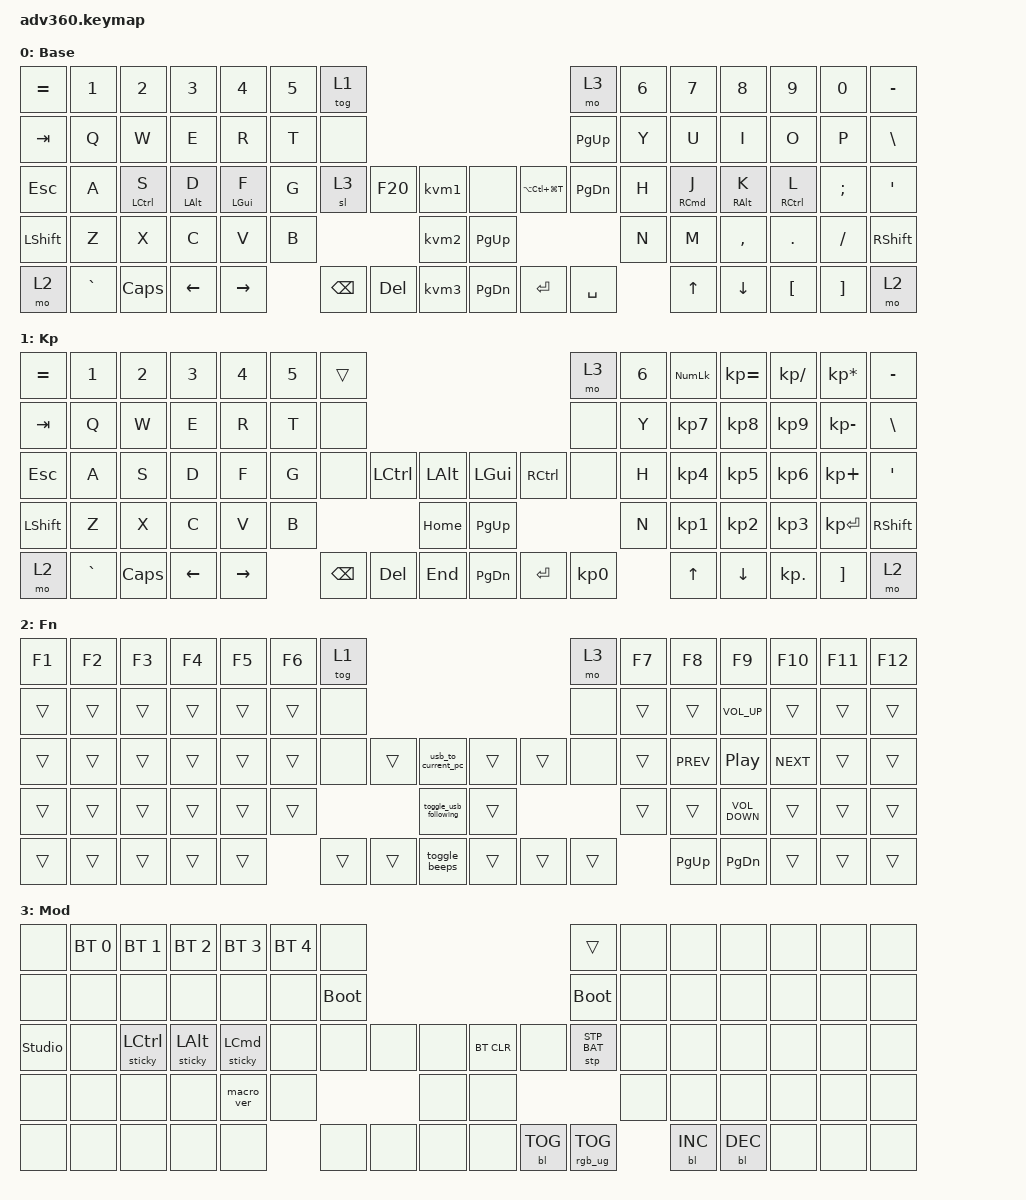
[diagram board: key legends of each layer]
#include <dt-bindings/zmk/stp.h>
#include <behaviors.dtsi>
#include <dt-bindings/zmk/backlight.h>
#include <dt-bindings/zmk/bt.h>
#include <dt-bindings/zmk/keys.h>
#include <dt-bindings/zmk/rgb.h>

/ {
    behaviors {
        #include "macros.dtsi"
      #include "version.dtsi"

        hm: homerow_mods {
            compatible = "zmk,behavior-hold-tap";
            label = "HOMEROW_MODS";
            #binding-cells = <2>;
            tapping-term-ms = <200>;
            quick_tap_ms = <175>;
            flavor = "tap-preferred";
            bindings = <&kp>, <&kp>;
        };

        hm_left: hm_left {
            compatible = "zmk,behavior-hold-tap";
            label = "HM_LEFT";
            bindings = <&kp>, <&kp>;

            #binding-cells = <2>;
            tapping-term-ms = <280>;
            quick-tap-ms = <175>;
            require-prior-idle-ms = <150>;
            flavor = "balanced";
            hold-trigger-on-release;
            hold-trigger-key-positions = <22 40 54 23 24 25 26 41 42 43 44 55 56 57 58 8 9 10 11 12 13 21 22 23 24 25 26 27 39 40 41 42 43 44 45 54 55 56 57 58 73 74 7 8 9 10 11 12 13 21 22 23 24 25 26 27 38 39 40 41 42 43 44 45 54 55 56 57 58 69 70 71 72 73 74 75 37 38 53 68 69 70 14>;
        };

        hm_right: hm_right {
            compatible = "zmk,behavior-hold-tap";
            label = "HM_RIGHT";
            bindings = <&kp>, <&kp>;

            #binding-cells = <2>;
            flavor = "balanced";
            tapping-term-ms = <280>;
            quick-tap-ms = <175>;
            require-prior-idle-ms = <150>;
            hold-trigger-on-release;
            hold-trigger-key-positions = <52 66 67 35 36 52 64 65 66 67 0 1 2 3 4 5 6 14 15 16 17 18 19 20 28 29 30 31 32 33 34 35 47 48 49 50 51 60 61 62 63 64>;
        };

        sticky: sticky {
            compatible = "zmk,behavior-sticky-key";
            label = "STICKY";
            bindings = <&kp>;
            #binding-cells = <1>;
            release-after-ms = <1000>;
        };
    };

    macros {
        kvm1: kvm1 {
            compatible = "zmk,behavior-macro";
            #binding-cells = <0>;
            bindings = <&kp LEFT_CONTROL &kp LEFT_CONTROL &kp NUMBER_1>;
            label = "KVM1";
        };

        kvm2: kvm2 {
            compatible = "zmk,behavior-macro";
            #binding-cells = <0>;
            bindings = <&kp LEFT_CONTROL &kp LEFT_CONTROL &kp NUMBER_2>;
            label = "KVM2";
        };

        kvm3: kvm3 {
            compatible = "zmk,behavior-macro";
            #binding-cells = <0>;
            bindings = <&kp LEFT_CONTROL &kp LEFT_CONTROL &kp NUMBER_3>;
            label = "KVM3";
        };

        usb_to_current_pc: usb_to_current_pc {
            compatible = "zmk,behavior-macro";
            #binding-cells = <0>;
            bindings = <&kp LCTRL &kp LCTRL &kp U>;
            label = "USB_TO_CURRENT_PC";
        };

        toggle_usb_following: toggle_usb_following {
            compatible = "zmk,behavior-macro";
            #binding-cells = <0>;
            bindings = <&kp LCTRL &kp LCTRL &kp F7>;
            label = "TOGGLE_USB_FOLLOWING";
        };

        toggle_beeps: toggle_beeps {
            compatible = "zmk,behavior-macro";
            #binding-cells = <0>;
            bindings = <&kp LCTRL &kp LCTRL &kp LA(G)>;
            label = "TOGGLE_BEEPS";
        };
    };

    keymap {
        compatible = "zmk,keymap";

        default_layer {
            display-name = "Base";
            bindings = <
&kp EQUAL  &kp N1     &kp N2                   &kp N3               &kp N4               &kp N5  &tog 1                                                          &mo 3          &kp N6  &kp N7                     &kp N8                 &kp N9                     &kp N0         &kp MINUS
&kp TAB    &kp Q      &kp W                    &kp E                &kp R                &kp T   &none                                                           &kp PG_UP      &kp Y   &kp U                      &kp I                  &kp O                      &kp P          &kp BSLH
&kp ESC    &kp A      &hm_left LEFT_CONTROL S  &hm_left LEFT_ALT D  &hm_left LEFT_GUI F  &kp G   &sl 3     &kp F20  &kvm1      &none          &kp LA(LC(LG(T)))  &kp PAGE_DOWN  &kp H   &hm_right RIGHT_COMMAND J  &hm_right RIGHT_ALT K  &hm_right RIGHT_CONTROL L  &kp SEMICOLON  &kp SQT
&kp LSHFT  &kp Z      &kp X                    &kp C                &kp V                &kp B                      &kvm2      &kp PG_UP                                        &kp N   &kp M                      &kp COMMA              &kp DOT                    &kp FSLH       &kp RSHFT
&mo 2      &kp GRAVE  &kp CAPS                 &kp LEFT             &kp RIGHT                    &kp BSPC  &kp DEL  &kvm3      &kp PAGE_DOWN  &kp ENTER          &kp SPACE              &kp UP                     &kp DOWN               &kp LBKT                   &kp RBKT       &mo 2
            >;
        };

        keypad {
            display-name = "Kp";
            bindings = <
&kp EQUAL  &kp N1     &kp N2    &kp N3    &kp N4     &kp N5  &trans                                                   &mo 3      &kp N6  &kp KP_NUM  &kp KP_EQUAL  &kp KP_DIVIDE  &kp KP_MULTIPLY  &kp MINUS
&kp TAB    &kp Q      &kp W     &kp E     &kp R      &kp T   &none                                                    &none      &kp Y   &kp KP_N7   &kp KP_N8     &kp KP_N9      &kp KP_MINUS     &kp BSLH
&kp ESC    &kp A      &kp S     &kp D     &kp F      &kp G   &none     &kp LCTRL  &kp LALT      &kp LGUI   &kp RCTRL  &none      &kp H   &kp KP_N4   &kp KP_N5     &kp KP_N6      &kp KP_PLUS      &kp SQT
&kp LSHFT  &kp Z      &kp X     &kp C     &kp V      &kp B                        &kp HOME      &kp PG_UP                        &kp N   &kp KP_N1   &kp KP_N2     &kp KP_N3      &kp KP_ENTER     &kp RSHFT
&mo 2      &kp GRAVE  &kp CAPS  &kp LEFT  &kp RIGHT          &kp BSPC  &kp DEL    &kp END       &kp PG_DN  &kp ENTER  &kp KP_N0          &kp UP      &kp DOWN      &kp KP_DOT     &kp RBKT         &mo 2
            >;
        };

        fn {
            display-name = "Fn";
            bindings = <
&kp F1  &kp F2  &kp F3  &kp F4  &kp F5  &kp F6  &tog 1                                                     &mo 3   &kp F7  &kp F8      &kp F9             &kp F10     &kp F11  &kp F12
&trans  &trans  &trans  &trans  &trans  &trans  &none                                                      &none   &trans  &trans      &kp C_VOLUME_UP    &trans      &trans   &trans
&trans  &trans  &trans  &trans  &trans  &trans  &none   &trans  &usb_to_current_pc         &trans  &trans  &none   &trans  &kp C_PREV  &kp C_PP           &kp C_NEXT  &trans   &trans
&trans  &trans  &trans  &trans  &trans  &trans                  &toggle_usb_following      &trans                  &trans  &trans      &kp C_VOLUME_DOWN  &trans      &trans   &trans
&trans  &trans  &trans  &trans  &trans          &trans  &trans  &toggle_beeps              &trans  &trans  &trans          &kp PG_UP   &kp PAGE_DOWN      &trans      &trans   &trans
            >;
        };

        mod {
            display-name = "Mod";
            bindings = <
&none           &bt BT_SEL 0  &bt BT_SEL 1          &bt BT_SEL 2      &bt BT_SEL 3          &bt BT_SEL 4  &none                                                  &trans           &none  &none       &none       &none  &none  &none
&none           &none         &none                 &none             &none                 &none         &bootloader                                            &bootloader      &none  &none       &none       &none  &none  &none
&studio_unlock  &none         &sticky LEFT_CONTROL  &sticky LEFT_ALT  &sticky LEFT_COMMAND  &none         &none        &none  &none      &bt BT_CLR  &none       &stp STP_BAT     &none  &none       &none       &none  &none  &none
&none           &none         &none                 &none             &macro_ver            &none                             &none      &none                                    &none  &none       &none       &none  &none  &none
&none           &none         &none                 &none             &none                               &none        &none  &none      &none       &bl BL_TOG  &rgb_ug RGB_TOG         &bl BL_INC  &bl BL_DEC  &none  &none  &none
            >;
        };

        extra1 {
            display-name = "Red";
            status = "reserved";
        };

        extra2 {
            display-name = "Purple";
            status = "reserved";
        };

        extra3 {
            display-name = "Cyan";
            status = "reserved";
        };

        extra4 {
            display-name = "Yellow";
            status = "reserved";
        };
    };
};
